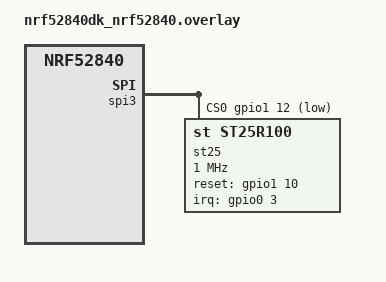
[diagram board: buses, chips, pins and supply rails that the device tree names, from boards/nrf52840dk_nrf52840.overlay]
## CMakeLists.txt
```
# SPDX-License-Identifier: Apache-2.0

cmake_minimum_required(VERSION 3.20.0)

# Add optix_zephyr custom out-of-tree zephyr resources
set(EXTERNAL_Z_MODULE ${CMAKE_CURRENT_SOURCE_DIR}/module)
list(APPEND ZEPHYR_EXTRA_MODULES ${EXTERNAL_Z_MODULE})

find_package(Zephyr REQUIRED HINTS $ENV{ZEPHYR_BASE})
project(st25r100_testing)

target_include_directories(app PRIVATE src)
target_sources(app PRIVATE
                src/demo_polling.c
                src/main.c
)
```

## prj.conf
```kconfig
CONFIG_GPIO=y
CONFIG_SPI=y
CONFIG_ST25R100=y
CONFIG_MAIN_STACK_SIZE=16384
CONFIG_TEST_RANDOM_GENERATOR=y

#########################################
# Logging
#########################################
# Logging and shell to RTT
CONFIG_LOG=y
CONFIG_LOG_MODE_DEFERRED=y
CONFIG_LOG_SPEED=y
CONFIG_LOG_MODE_IMMEDIATE=n
CONFIG_LOG_DEFAULT_LEVEL=3

CONFIG_CONSOLE=y
CONFIG_RTT_CONSOLE=y
CONFIG_USE_SEGGER_RTT=y

CONFIG_PRINTK=y
CONFIG_LOG_PRINTK=y

CONFIG_LOG_PROCESS_THREAD=y

CONFIG_CBPRINTF_FP_SUPPORT=y

CONFIG_LOG_PROCESS_THREAD=n
CONFIG_LOG_SPEED=n
CONFIG_LOG_MODE_IMMEDIATE=y
```

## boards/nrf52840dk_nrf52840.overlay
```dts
&spi3 {
    status = "okay";
    cs-gpios = <&gpio1 12 GPIO_ACTIVE_LOW>;

    st25: st25@0 {
        compatible = "st,st25r100";
        status = "okay";
        reg = <0x0>;
        spi-max-frequency = <1000000>;
        reset-gpios = <&gpio1 10 GPIO_ACTIVE_HIGH>;
        irq-gpios = <&gpio0 3 GPIO_ACTIVE_HIGH>;
    };
};
```

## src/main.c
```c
#include "st25r100_drv.h"

#include <stdio.h>
#include <zephyr/kernel.h>
#include <zephyr/device.h>
#include <zephyr/random/random.h>
#include <zephyr/logging/log.h>

LOG_MODULE_REGISTER(main, CONFIG_LOG_DEFAULT_LEVEL);

// This is how to write non-maintainable overly complicated code, but I'm having fun.
struct dummy_bytes {
	uint8_t a: 8;
	uint8_t b: 8;
	uint8_t c: 8;
	uint8_t d: 8;
};
union dummy_data {
	struct dummy_bytes bytes;
	uint32_t parent_val;
} write_data;

int main(void)
{
	const struct device *dev = device_get_binding(DEVICE_DT_NAME(DT_NODELABEL(st25)));
	if (dev == NULL)
	{
		LOG_ERR("Could not find NFC device.");
		return -ENODEV;
	}
	LOG_INF("NFC device found. It loves you very much.");

	while (1)
	{
		// Random val for write to test read matches
		write_data.parent_val = sys_rand32_get();
		LOG_INF("%x: %x %x %x %x",
				write_data.parent_val,
				write_data.bytes.a,
				write_data.bytes.b,
				write_data.bytes.c,
				write_data.bytes.d);

		// unsafe {
		st25_write_tag(dev, 0, (uint8_t*)&write_data); // very brain

		uint8_t read_buf[3*4] = {0};
		st25_read_tag(dev, 0, 3, read_buf);
		for (int i=0; i<sizeof(read_buf); i++)
		{
			printk("%x ", read_buf[i]);
		}
		printk("\n");

		// Check block 0 to verify write
		union dummy_data check;
		check.parent_val = *(uint32_t*)read_buf; // everything is fine
		memset(read_buf, 0, sizeof(read_buf));

		if (check.parent_val != write_data.parent_val)
		{
			LOG_ERR("Written bytes did not match read bytes. (read 0x%x)", check.parent_val);
		}
		// }

		k_msleep(5000);
	}
	return 0;
}
```

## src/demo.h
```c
/**
  *****************************************************************************
  * @file    demo.h
  * @brief   Header for polling tag detect
  ******************************************************************************
  * @attention
  *
  * Copyright (c) 2021 STMicroelectronics.
  * All rights reserved.
  *
  * This software is licensed under terms that can be found in the LICENSE file
  * in the root directory of this software component.
  * If no LICENSE file comes with this software, it is provided AS-IS.
  *
  ******************************************************************************
  */

/* Define to prevent recursive inclusion -------------------------------------*/
#ifndef DEMO_H
#define DEMO_H

#ifdef __cplusplus
extern "C" {
#endif

/* Includes ------------------------------------------------------------------*/
#include "rfal_platform.h"
#include "st_errno.h"

/** @addtogroup X-CUBE-NFC6_Applications
 *  @{
 */

/** @addtogroup PollingTagDetect
 *  @{
 */

/** @defgroup PTD_Demo
 *  @brief Demo functions containing the example code
 * @{
 */

/* Exported types ------------------------------------------------------------*/
/* Exported constants --------------------------------------------------------*/
/* Exported macro ------------------------------------------------------------*/

/* Exported functions ------------------------------------------------------- */
/** @defgroup PTD_Demo_Exported_Functions
 *  @{
 */
bool demoIni( void );
void demoCycle(void);

/**
  * @}
  */

/**
  * @}
  */ 

/**
  * @}
  */

/**
  * @}
  */

#ifdef __cplusplus
}
#endif

#endif /* DEMO_H */
```

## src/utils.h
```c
/**
  ******************************************************************************
  * @file    utils.h
  * @author  MMY Application Team
  * @brief   Common and helpful macros
  ******************************************************************************
  * @attention
  *
  * Copyright (c) 2021 STMicroelectronics.
  * All rights reserved.
  *
  * This software is licensed under terms that can be found in the LICENSE file
  * in the root directory of this software component.
  * If no LICENSE file comes with this software, it is provided AS-IS.
  *
  ******************************************************************************
  */

#ifndef UTILS_H
#define UTILS_H

/*
******************************************************************************
* INCLUDES
******************************************************************************
*/
#include <string.h>

/*
******************************************************************************
* GLOBAL MACROS
******************************************************************************
*/
/*!
 * this macro evaluates an error variable \a ERR against an error code \a EC.
 * in case it is not equal it jumps to the given label \a LABEL.
 */
#define EVAL_ERR_NE_GOTO(EC, ERR, LABEL)                                   \
if ((EC) != (ERR)) goto LABEL;

/*!
 * this macro evaluates an error variable \a ERR against an error code \a EC.
 * in case it is equal it jumps to the given label \a LABEL.
 */
#define EVAL_ERR_EQ_GOTO(EC, ERR, LABEL)                                   \
if ((EC) == (ERR)) goto LABEL;

#define SIZEOF_ARRAY(a)     (sizeof(a) / sizeof((a)[0]))  /*!< Compute the size of an array           */
#define MAX(a, b)           (((a) > (b)) ? (a) : (b))     /*!< Return the maximum of the 2 values     */
#define MIN(a, b)           (((a) < (b)) ? (a) : (b))     /*!< Return the minimum of the 2 values     */
#define BITMASK_1           (0x01)                        /*!< Bit mask for lsb bit                   */
#define BITMASK_2           (0x03)                        /*!< Bit mask for two lsb bits              */
#define BITMASK_3           (0x07)                        /*!< Bit mask for three lsb bits            */
#define BITMASK_4           (0x0F)                        /*!< Bit mask for four lsb bits             */
#define U16TOU8(a)          ((a) & 0x00FF)                /*!< Cast 16-bit unsigned to 8-bit unsigned */
#define GETU16(a)           (((uint16_t)(a)[0] << 8) | (uint16_t)(a)[1])/*!< Cast two Big Endian 8-bits byte array to 16-bits unsigned */
#define GETU32(a)           (((uint32_t)(a)[0] << 24) | ((uint32_t)(a)[1] << 16) | ((uint32_t)(a)[2] << 8) | ((uint32_t)(a)[3])) /*!< Cast four Big Endian 8-bit byte array to 32-bit unsigned */

#define REVERSE_BYTES(pData, nDataSize) \
{unsigned char swap, *lo = ((unsigned char *)(pData)), *hi = ((unsigned char *)(pData)) + (nDataSize) - 1; \
while (lo < hi) { swap = *lo; *lo++ = *hi; *hi-- = swap; }}

#ifdef __CSMC__
/* STM8 COSMIC */
#define ST_MEMMOVE(s1,s2,n)                                                 memmove(s1,s2,n)                                /*!< map memmove to string library code */
static inline void * ST_MEMCPY(void *s1, const void *s2, uint32_t n)      { return memcpy(s1,s2,(uint16_t)n); }             /*  PRQA S 0431 # MISRA 1.1 - string.h from Cosmic only provides functions with low qualified parameters */
#define ST_MEMSET(s1,c,n)                                                   memset(s1,(char)(c),n)                          /*!< map memset to string library code  */
static inline int32_t ST_BYTECMP(void *s1, const void *s2, uint32_t n)    { return (int32_t)memcmp(s1,s2,(uint16_t)n); }    /*  PRQA S 0431 # MISRA 1.1 - string.h from Cosmic only provides functions with low qualified parameters */

#else   /* __CSMC__ */

#define ST_MEMMOVE          memmove     /*!< map memmove to string library code */
#define ST_MEMCPY           memcpy      /*!< map memcpy to string library code  */
#define ST_MEMSET           memset      /*!< map memset to string library code  */
#define ST_BYTECMP          memcmp      /*!< map bytecmp to string library code */
#endif /* __CSMC__ */

#define NO_WARNING(v)      ((void) (v)) /*!< Macro to suppress compiler warning */


#ifndef NULL
  #define NULL (void*)0                 /*!< represents a NULL pointer */
#endif /* !NULL */

/*
******************************************************************************
* GLOBAL FUNCTION PROTOTYPES
******************************************************************************
*/

#endif /* UTILS_H */
```
